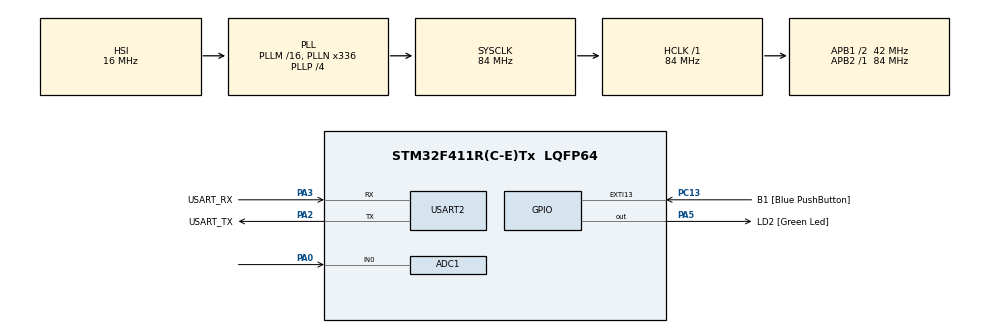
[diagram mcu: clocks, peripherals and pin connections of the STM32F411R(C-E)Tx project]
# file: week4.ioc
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ADC1.Channel-1\#ChannelRegularConversion=ADC_CHANNEL_TEMPSENSOR
ADC1.Channel-2\#ChannelRegularConversion=ADC_CHANNEL_0
ADC1.ContinuousConvMode=ENABLE
ADC1.DMAContinuousRequests=ENABLE
ADC1.NbrOfConversion=2
ADC1.NbrOfConversionFlag=1
ADC1.Rank-1\#ChannelRegularConversion=1
ADC1.Rank-2\#ChannelRegularConversion=2
ADC1.SamplingTime-1\#ChannelRegularConversion=ADC_SAMPLETIME_84CYCLES
ADC1.SamplingTime-2\#ChannelRegularConversion=ADC_SAMPLETIME_84CYCLES
ADC1.master=1
Dma.ADC1.0.Direction=DMA_PERIPH_TO_MEMORY
Dma.ADC1.0.FIFOMode=DMA_FIFOMODE_DISABLE
Dma.ADC1.0.Instance=DMA2_Stream0
Dma.ADC1.0.MemDataAlignment=DMA_MDATAALIGN_HALFWORD
Dma.ADC1.0.MemInc=DMA_MINC_ENABLE
Dma.ADC1.0.Mode=DMA_CIRCULAR
Dma.ADC1.0.PeriphDataAlignment=DMA_PDATAALIGN_HALFWORD
Dma.ADC1.0.PeriphInc=DMA_PINC_DISABLE
Dma.ADC1.0.Priority=DMA_PRIORITY_LOW
Dma.Request0=ADC1
Mcu.Family=STM32F4
Mcu.Name=STM32F411R(C-E)Tx
Mcu.Package=LQFP64
NVIC.ADC_IRQn=true\:0\:0\:false\:false\:true\:true\:true\:true
NVIC.DMA2_Stream0_IRQn=true\:0\:0\:false\:false\:true\:false\:true\:true
NVIC.EXTI15_10_IRQn=true\:0\:0\:false\:false\:true\:true\:true\:true
NVIC.PriorityGroup=NVIC_PRIORITYGROUP_0
PA0-WKUP.Signal=ADCx_IN0
PA13.GPIO_Label=TMS
PA13.Mode=Serial_Wire
PA13.Signal=SYS_JTMS-SWDIO
PA14.GPIO_Label=TCK
PA14.Mode=Serial_Wire
PA14.Signal=SYS_JTCK-SWCLK
PA2.GPIO_Label=USART_TX
PA2.Mode=Asynchronous
PA2.Signal=USART2_TX
PA3.GPIO_Label=USART_RX
PA3.Mode=Asynchronous
PA3.Signal=USART2_RX
PA5.GPIO_Label=LD2 [Green Led]
PA5.Signal=GPIO_Output
PB3.GPIO_Label=SWO
PB3.Signal=SYS_JTDO-SWO
PC13-ANTI_TAMP.GPIO_Label=B1 [Blue PushButton]
PC13-ANTI_TAMP.GPIO_ModeDefaultEXTI=GPIO_MODE_IT_FALLING
PC13-ANTI_TAMP.Signal=GPXTI13
PC14-OSC32_IN.Mode=LSE-External-Oscillator
PC14-OSC32_IN.Signal=RCC_OSC32_IN
PC15-OSC32_OUT.Mode=LSE-External-Oscillator
PC15-OSC32_OUT.Signal=RCC_OSC32_OUT
PH0\ -\ OSC_IN.Mode=HSE-External-Clock-Source
PH0\ -\ OSC_IN.Signal=RCC_OSC_IN
PH1\ -\ OSC_OUT.Mode=HSE-External-Clock-Source
PH1\ -\ OSC_OUT.Signal=RCC_OSC_OUT
ProjectManager.HeapSize=0x200
ProjectManager.StackSize=0x400
ProjectManager.TargetToolchain=STM32CubeIDE
RCC.48MHZClocksFreq_Value=84000000
RCC.AHBFreq_Value=84000000
RCC.APB1CLKDivider=RCC_HCLK_DIV2
RCC.APB1Freq_Value=42000000
RCC.APB1TimFreq_Value=84000000
RCC.APB2Freq_Value=84000000
RCC.APB2TimFreq_Value=84000000
RCC.CortexFreq_Value=84000000
RCC.FLatency-AdvancedSettings=FLASH_LATENCY_2
RCC.HCLKFreq_Value=84000000
RCC.HSE_VALUE=8000000
RCC.HSI_VALUE=16000000
RCC.PLLN=336
RCC.PLLP=RCC_PLLP_DIV4
RCC.SYSCLKFreq_VALUE=84000000
RCC.SYSCLKSource=RCC_SYSCLKSOURCE_PLLCLK
RCC.VCOOutputFreq_Value=336000000
SH.ADCx_IN0.0=ADC1_IN0,IN0
USART2.VirtualMode=VM_ASYNC
VP_ADC1_TempSens_Input.Mode=IN-TempSens
board=NUCLEO-F411RE

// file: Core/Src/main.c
/* USER CODE BEGIN Header */
/**
 ******************************************************************************
 * @file           : main.c
 * @brief          : Main program body
 ******************************************************************************
 * @attention
 *
 * Copyright (c) 2023 STMicroelectronics.
 * All rights reserved.
 *
 * This software is licensed under terms that can be found in the LICENSE file
 * in the root directory of this software component.
 * If no LICENSE file comes with this software, it is provided AS-IS.
 *
 ******************************************************************************
 */
/* USER CODE END Header */
#include "main.h"

ADC_HandleTypeDef hadc1;
DMA_HandleTypeDef hdma_adc1;

UART_HandleTypeDef huart2;

/* USER CODE BEGIN PV */
uint16_t adcRawData[20];
uint16_t i;
uint16_t x;
uint16_t y;
uint16_t avgx;
uint16_t avgy;
uint16_t z;
uint16_t w;
/* USER CODE END PV */

void SystemClock_Config(void);
static void MX_GPIO_Init(void);
static void MX_DMA_Init(void);
static void MX_USART2_UART_Init(void);
static void MX_ADC1_Init(void);
/* USER CODE BEGIN PFP */
void rawData();
/* USER CODE END PFP */

int main(void) {

	/* MCU Configuration--------------------------------------------------------*/

	/* Reset of all peripherals, Initializes the Flash interface and the Systick. */
	HAL_Init();

	/* Configure the system clock */
	SystemClock_Config();

	/* Initialize all configured peripherals */
	MX_GPIO_Init();
	MX_DMA_Init();
	MX_USART2_UART_Init();
	MX_ADC1_Init();

	/* Infinite loop */
	while (1) {

		/* USER CODE BEGIN 3 */
		static uint32_t timestamp = 0;
		if (HAL_GetTick() >= timestamp) {
			timestamp = HAL_GetTick() + 1000;
			rawData();
		}
	}
	/* USER CODE END 3 */
}

void SystemClock_Config(void) {
	RCC_OscInitTypeDef RCC_OscInitStruct = { 0 };
	RCC_ClkInitTypeDef RCC_ClkInitStruct = { 0 };

	/** Configure the main internal regulator output voltage
	 */
	__HAL_RCC_PWR_CLK_ENABLE();
	__HAL_PWR_VOLTAGESCALING_CONFIG(PWR_REGULATOR_VOLTAGE_SCALE1);

	/** Initializes the RCC Oscillators according to the specified parameters
	 * in the RCC_OscInitTypeDef structure.
	 */
	RCC_OscInitStruct.OscillatorType = RCC_OSCILLATORTYPE_HSI;
	RCC_OscInitStruct.HSIState = RCC_HSI_ON;
	RCC_OscInitStruct.HSICalibrationValue = RCC_HSICALIBRATION_DEFAULT;
	RCC_OscInitStruct.PLL.PLLState = RCC_PLL_ON;
	RCC_OscInitStruct.PLL.PLLSource = RCC_PLLSOURCE_HSI;
	RCC_OscInitStruct.PLL.PLLM = 16;
	RCC_OscInitStruct.PLL.PLLN = 336;
	RCC_OscInitStruct.PLL.PLLP = RCC_PLLP_DIV4;
	RCC_OscInitStruct.PLL.PLLQ = 4;
	if (HAL_RCC_OscConfig(&RCC_OscInitStruct) != HAL_OK) {
		Error_Handler();
	}

	/** Initializes the CPU, AHB and APB buses clocks
	 */
	RCC_ClkInitStruct.ClockType = RCC_CLOCKTYPE_HCLK | RCC_CLOCKTYPE_SYSCLK
			| RCC_CLOCKTYPE_PCLK1 | RCC_CLOCKTYPE_PCLK2;
	RCC_ClkInitStruct.SYSCLKSource = RCC_SYSCLKSOURCE_PLLCLK;
	RCC_ClkInitStruct.AHBCLKDivider = RCC_SYSCLK_DIV1;
	RCC_ClkInitStruct.APB1CLKDivider = RCC_HCLK_DIV2;
	RCC_ClkInitStruct.APB2CLKDivider = RCC_HCLK_DIV1;

	if (HAL_RCC_ClockConfig(&RCC_ClkInitStruct, FLASH_LATENCY_2) != HAL_OK) {
		Error_Handler();
	}
}

static void MX_ADC1_Init(void) {

	ADC_ChannelConfTypeDef sConfig = { 0 };

	/** Configure the global features of the ADC (Clock, Resolution, Data Alignment and number of conversion)
	 */
	hadc1.Instance = ADC1;
	hadc1.Init.ClockPrescaler = ADC_CLOCK_SYNC_PCLK_DIV4;
	hadc1.Init.Resolution = ADC_RESOLUTION_12B;
	hadc1.Init.ScanConvMode = ENABLE;
	hadc1.Init.ContinuousConvMode = ENABLE;
	hadc1.Init.DiscontinuousConvMode = DISABLE;
	hadc1.Init.ExternalTrigConvEdge = ADC_EXTERNALTRIGCONVEDGE_NONE;
	hadc1.Init.ExternalTrigConv = ADC_SOFTWARE_START;
	hadc1.Init.DataAlign = ADC_DATAALIGN_RIGHT;
	hadc1.Init.NbrOfConversion = 2;
	hadc1.Init.DMAContinuousRequests = ENABLE;
	hadc1.Init.EOCSelection = ADC_EOC_SINGLE_CONV;
	if (HAL_ADC_Init(&hadc1) != HAL_OK) {
		Error_Handler();
	}

	/** Configure for the selected ADC regular channel its corresponding rank in the sequencer and its sample time.
	 */
	sConfig.Channel = ADC_CHANNEL_TEMPSENSOR;
	sConfig.Rank = 1;
	sConfig.SamplingTime = ADC_SAMPLETIME_84CYCLES;
	if (HAL_ADC_ConfigChannel(&hadc1, &sConfig) != HAL_OK) {
		Error_Handler();
	}

	/** Configure for the selected ADC regular channel its corresponding rank in the sequencer and its sample time.
	 */
	sConfig.Channel = ADC_CHANNEL_0;
	sConfig.Rank = 2;
	if (HAL_ADC_ConfigChannel(&hadc1, &sConfig) != HAL_OK) {
		Error_Handler();
	}

}

static void MX_USART2_UART_Init(void) {

	huart2.Instance = USART2;
	huart2.Init.BaudRate = 115200;
	huart2.Init.WordLength = UART_WORDLENGTH_8B;
	huart2.Init.StopBits = UART_STOPBITS_1;
	huart2.Init.Parity = UART_PARITY_NONE;
	huart2.Init.Mode = UART_MODE_TX_RX;
	huart2.Init.HwFlowCtl = UART_HWCONTROL_NONE;
	huart2.Init.OverSampling = UART_OVERSAMPLING_16;
	if (HAL_UART_Init(&huart2) != HAL_OK) {
		Error_Handler();
	}

}

static void MX_DMA_Init(void) {

	/* DMA controller clock enable */
	__HAL_RCC_DMA2_CLK_ENABLE();

	/* DMA interrupt init */
	/* DMA2_Stream0_IRQn interrupt configuration */
	HAL_NVIC_SetPriority(DMA2_Stream0_IRQn, 0, 0);
	HAL_NVIC_EnableIRQ(DMA2_Stream0_IRQn);

}

static void MX_GPIO_Init(void) {
	GPIO_InitTypeDef GPIO_InitStruct = { 0 };

	/* GPIO Ports Clock Enable */
	__HAL_RCC_GPIOC_CLK_ENABLE();
	__HAL_RCC_GPIOH_CLK_ENABLE();
	__HAL_RCC_GPIOA_CLK_ENABLE();
	__HAL_RCC_GPIOB_CLK_ENABLE();

	/*Configure GPIO pin Output Level */
	HAL_GPIO_WritePin(LD2_GPIO_Port, LD2_Pin, GPIO_PIN_RESET);

	/*Configure GPIO pin : B1_Pin */
	GPIO_InitStruct.Pin = B1_Pin;
	GPIO_InitStruct.Mode = GPIO_MODE_IT_FALLING;
	GPIO_InitStruct.Pull = GPIO_NOPULL;
	HAL_GPIO_Init(B1_GPIO_Port, &GPIO_InitStruct);

	/*Configure GPIO pin : LD2_Pin */
	GPIO_InitStruct.Pin = LD2_Pin;
	GPIO_InitStruct.Mode = GPIO_MODE_OUTPUT_PP;
	GPIO_InitStruct.Pull = GPIO_NOPULL;
	GPIO_InitStruct.Speed = GPIO_SPEED_FREQ_LOW;
	HAL_GPIO_Init(LD2_GPIO_Port, &GPIO_InitStruct);

	/* EXTI interrupt init*/
	HAL_NVIC_SetPriority(EXTI15_10_IRQn, 0, 0);
	HAL_NVIC_EnableIRQ(EXTI15_10_IRQn);

}

/* USER CODE BEGIN 4 */
void HAL_GPIO_EXTI_Callback(uint16_t GPIO_Pin) {
	if (GPIO_Pin == GPIO_PIN_13) {
		HAL_ADC_Start_DMA(&hadc1, adcRawData, 20);

	}
}
void rawData() {
	for (i = 0; i < 20; ++i) {
		if (i % 2 == 0) {
			x += adcRawData[i];
		} else if (i % 2 == 1) {
			y += adcRawData[i];
		}
	}
	avgx = x / 10;
	avgy = y / 10;//ค่าเฉลี่ย
//	y = (((3.3 / 4096) * y)*1000)*2; //แปลงค่าจากที่อ่านได้เป็น bit ไปเป็น milli volt
	z = ((avgy * 3.3/ 4096)* 1000)* 2;//z คือค่า millivolt
	w = ((((avgx * 3.3/ 4096)*1000)- 760)/ 2.5) + 25 + 273;
	y=0;
	x=0;
}
void HAL_ADC_ConvCpltCallback(ADC_HandleTypeDef *hadc) {
//	adcRawData =HAL_ADC_GetValue(&hadc1);
}
/* USER CODE END 4 */

void Error_Handler(void) {
	__disable_irq();
	while (1) {
	}
}
